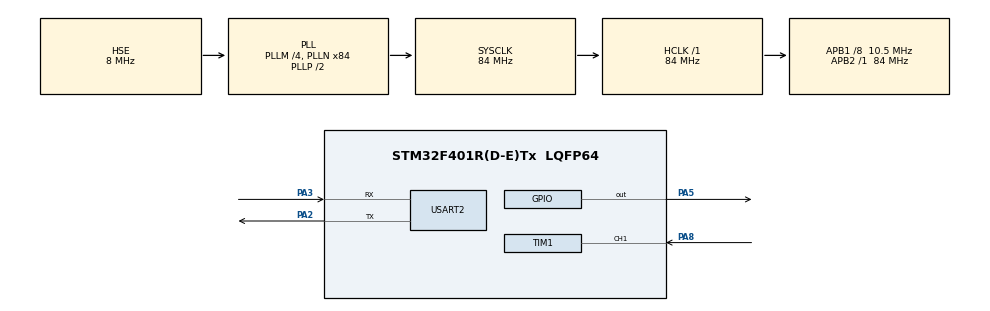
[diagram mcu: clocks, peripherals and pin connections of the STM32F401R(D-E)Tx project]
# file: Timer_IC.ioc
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Mcu.Family=STM32F4
Mcu.Name=STM32F401R(D-E)Tx
Mcu.Package=LQFP64
NVIC.PriorityGroup=NVIC_PRIORITYGROUP_4
NVIC.TIM1_CC_IRQn=true\:0\:0\:false\:false\:true\:true\:true
PA13.Mode=Serial_Wire
PA13.Signal=SYS_JTMS-SWDIO
PA14.Mode=Serial_Wire
PA14.Signal=SYS_JTCK-SWCLK
PA2.Mode=Asynchronous
PA2.Signal=USART2_TX
PA3.Mode=Asynchronous
PA3.Signal=USART2_RX
PA5.Signal=GPIO_Output
PA8.Signal=S_TIM1_CH1
PH0\ -\ OSC_IN.Mode=HSE-External-Clock-Source
PH0\ -\ OSC_IN.Signal=RCC_OSC_IN
PH1\ -\ OSC_OUT.Mode=HSE-External-Clock-Source
PH1\ -\ OSC_OUT.Signal=RCC_OSC_OUT
ProjectManager.HeapSize=0x200
ProjectManager.StackSize=0x400
ProjectManager.TargetToolchain=STM32CubeIDE
RCC.48MHZClocksFreq_Value=42000000
RCC.AHBFreq_Value=84000000
RCC.APB1CLKDivider=RCC_HCLK_DIV8
RCC.APB1Freq_Value=10500000
RCC.APB1TimFreq_Value=21000000
RCC.APB2Freq_Value=84000000
RCC.APB2TimFreq_Value=84000000
RCC.CortexFreq_Value=84000000
RCC.HCLKFreq_Value=84000000
RCC.HSE_VALUE=8000000
RCC.HSI_VALUE=16000000
RCC.LSE_VALUE=32768
RCC.PLLM=4
RCC.PLLN=84
RCC.PLLSourceVirtual=RCC_PLLSOURCE_HSE
RCC.SYSCLKFreq_VALUE=84000000
RCC.SYSCLKSource=RCC_SYSCLKSOURCE_PLLCLK
RCC.VCOOutputFreq_Value=168000000
SH.S_TIM1_CH1.0=TIM1_CH1,Input_Capture1_from_TI1
TIM1.Channel-Input_Capture1_from_TI1=TIM_CHANNEL_1
USART2.VirtualMode=VM_ASYNC
VP_TIM1_VS_ClockSourceINT.Mode=Internal
board=custom

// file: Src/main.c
/* USER CODE BEGIN Header */
/**
  ******************************************************************************
  * @file           : main.c
  * @brief          : Main program body
  ******************************************************************************
  * @attention
  *
  * <h2><center>&copy; Copyright (c) 2021 STMicroelectronics.
  * All rights reserved.</center></h2>
  *
  * This software component is licensed by ST under BSD 3-Clause license,
  * the "License"; You may not use this file except in compliance with the
  * License. You may obtain a copy of the License at:
  *                        opensource.org/licenses/BSD-3-Clause
  *
  ******************************************************************************
  */
/* USER CODE END Header */
#include "main.h"

TIM_HandleTypeDef htim1;

UART_HandleTypeDef huart2;

void SystemClock_Config(void);
static void MX_GPIO_Init(void);
static void MX_TIM1_Init(void);
static void MX_USART2_UART_Init(void);

/* USER CODE BEGIN 0 */
#define TRUE 1
#define FALSE 0

uint32_t IC_Val1 = 0;
uint32_t IC_Val2 = 0;
long Difference = 0;
uint8_t Is_First_Captured = 0;
long Frequency=0;
uint8_t buff[100]={0};

void HAL_TIM_IC_CaptureCallback(TIM_HandleTypeDef *htim)
{
	if (htim->Channel == HAL_TIM_ACTIVE_CHANNEL_1)  // if the interrupt source is channel2
		{
			if (Is_First_Captured==0) // if the first value is not captured
			{
				IC_Val1 = HAL_TIM_ReadCapturedValue(htim, TIM_CHANNEL_1); // read the first value
				Is_First_Captured = 1;  // set the first captured as true
				// Now change the polarity to falling edge
				__HAL_TIM_SET_CAPTUREPOLARITY(htim, TIM_CHANNEL_1, TIM_INPUTCHANNELPOLARITY_FALLING);
			}

			else if (Is_First_Captured==1)   // if the first is already captured
			{
				IC_Val2 = HAL_TIM_ReadCapturedValue(htim, TIM_CHANNEL_1);  // read second value
				__HAL_TIM_SET_COUNTER(htim, 0);  // reset the counter

				if (IC_Val2 > IC_Val1)
				{
					Difference = IC_Val2-IC_Val1;
				}

				Is_First_Captured = 0; // set it back to false

				// set polarity to rising edge
				__HAL_TIM_SET_CAPTUREPOLARITY(htim, TIM_CHANNEL_1, TIM_INPUTCHANNELPOLARITY_RISING);

			}
		}
}

/* USER CODE END 0 */

int main(void)
{

  /* MCU Configuration--------------------------------------------------------*/

  /* Reset of all peripherals, Initializes the Flash interface and the Systick. */
  HAL_Init();

  /* Configure the system clock */
  SystemClock_Config();

  /* Initialize all configured peripherals */
  MX_GPIO_Init();
  MX_TIM1_Init();
  MX_USART2_UART_Init();
  /* USER CODE BEGIN 2 */

  HAL_TIM_IC_Start_IT(&htim1, TIM_CHANNEL_1);

  /* USER CODE END 2 */

  /* Infinite loop */
  while (1)
  {

    /* USER CODE BEGIN 3 */
	         Frequency = HAL_RCC_GetPCLK2Freq()/Difference;
	      	sprintf(buff, "ferq= %ld     PCLK= %ld   diff=  %ld  val2= %d   val1=%d\r\n",Frequency,HAL_RCC_GetPCLK2Freq() ,Difference, IC_Val2, IC_Val1);
	    	HAL_UART_Transmit(&huart2, buff, strlen(buff), HAL_MAX_DELAY);
  }
  /* USER CODE END 3 */
}

void SystemClock_Config(void)
{
  RCC_OscInitTypeDef RCC_OscInitStruct = {0};
  RCC_ClkInitTypeDef RCC_ClkInitStruct = {0};

  /** Configure the main internal regulator output voltage
  */
  __HAL_RCC_PWR_CLK_ENABLE();
  __HAL_PWR_VOLTAGESCALING_CONFIG(PWR_REGULATOR_VOLTAGE_SCALE2);
  /** Initializes the RCC Oscillators according to the specified parameters
  * in the RCC_OscInitTypeDef structure.
  */
  RCC_OscInitStruct.OscillatorType = RCC_OSCILLATORTYPE_HSE;
  RCC_OscInitStruct.HSEState = RCC_HSE_BYPASS;
  RCC_OscInitStruct.PLL.PLLState = RCC_PLL_ON;
  RCC_OscInitStruct.PLL.PLLSource = RCC_PLLSOURCE_HSE;
  RCC_OscInitStruct.PLL.PLLM = 4;
  RCC_OscInitStruct.PLL.PLLN = 84;
  RCC_OscInitStruct.PLL.PLLP = RCC_PLLP_DIV2;
  RCC_OscInitStruct.PLL.PLLQ = 4;
  if (HAL_RCC_OscConfig(&RCC_OscInitStruct) != HAL_OK)
  {
    Error_Handler();
  }
  /** Initializes the CPU, AHB and APB buses clocks
  */
  RCC_ClkInitStruct.ClockType = RCC_CLOCKTYPE_HCLK|RCC_CLOCKTYPE_SYSCLK
                              |RCC_CLOCKTYPE_PCLK1|RCC_CLOCKTYPE_PCLK2;
  RCC_ClkInitStruct.SYSCLKSource = RCC_SYSCLKSOURCE_PLLCLK;
  RCC_ClkInitStruct.AHBCLKDivider = RCC_SYSCLK_DIV1;
  RCC_ClkInitStruct.APB1CLKDivider = RCC_HCLK_DIV8;
  RCC_ClkInitStruct.APB2CLKDivider = RCC_HCLK_DIV1;

  if (HAL_RCC_ClockConfig(&RCC_ClkInitStruct, FLASH_LATENCY_2) != HAL_OK)
  {
    Error_Handler();
  }
}

static void MX_TIM1_Init(void)
{

  TIM_ClockConfigTypeDef sClockSourceConfig = {0};
  TIM_MasterConfigTypeDef sMasterConfig = {0};
  TIM_IC_InitTypeDef sConfigIC = {0};

  htim1.Instance = TIM1;
  htim1.Init.Prescaler = 0;
  htim1.Init.CounterMode = TIM_COUNTERMODE_UP;
  htim1.Init.Period = 65535;
  htim1.Init.ClockDivision = TIM_CLOCKDIVISION_DIV1;
  htim1.Init.RepetitionCounter = 0;
  htim1.Init.AutoReloadPreload = TIM_AUTORELOAD_PRELOAD_DISABLE;
  if (HAL_TIM_Base_Init(&htim1) != HAL_OK)
  {
    Error_Handler();
  }
  sClockSourceConfig.ClockSource = TIM_CLOCKSOURCE_INTERNAL;
  if (HAL_TIM_ConfigClockSource(&htim1, &sClockSourceConfig) != HAL_OK)
  {
    Error_Handler();
  }
  if (HAL_TIM_IC_Init(&htim1) != HAL_OK)
  {
    Error_Handler();
  }
  sMasterConfig.MasterOutputTrigger = TIM_TRGO_RESET;
  sMasterConfig.MasterSlaveMode = TIM_MASTERSLAVEMODE_DISABLE;
  if (HAL_TIMEx_MasterConfigSynchronization(&htim1, &sMasterConfig) != HAL_OK)
  {
    Error_Handler();
  }
  sConfigIC.ICPolarity = TIM_INPUTCHANNELPOLARITY_RISING;
  sConfigIC.ICSelection = TIM_ICSELECTION_DIRECTTI;
  sConfigIC.ICPrescaler = TIM_ICPSC_DIV1;
  sConfigIC.ICFilter = 0;
  if (HAL_TIM_IC_ConfigChannel(&htim1, &sConfigIC, TIM_CHANNEL_1) != HAL_OK)
  {
    Error_Handler();
  }

}

static void MX_USART2_UART_Init(void)
{

  huart2.Instance = USART2;
  huart2.Init.BaudRate = 115200;
  huart2.Init.WordLength = UART_WORDLENGTH_8B;
  huart2.Init.StopBits = UART_STOPBITS_1;
  huart2.Init.Parity = UART_PARITY_NONE;
  huart2.Init.Mode = UART_MODE_TX_RX;
  huart2.Init.HwFlowCtl = UART_HWCONTROL_NONE;
  huart2.Init.OverSampling = UART_OVERSAMPLING_16;
  if (HAL_UART_Init(&huart2) != HAL_OK)
  {
    Error_Handler();
  }

}

static void MX_GPIO_Init(void)
{
  GPIO_InitTypeDef GPIO_InitStruct = {0};

  /* GPIO Ports Clock Enable */
  __HAL_RCC_GPIOH_CLK_ENABLE();
  __HAL_RCC_GPIOA_CLK_ENABLE();

  /*Configure GPIO pin Output Level */
  HAL_GPIO_WritePin(GPIOA, GPIO_PIN_5, GPIO_PIN_RESET);

  /*Configure GPIO pin : PA5 */
  GPIO_InitStruct.Pin = GPIO_PIN_5;
  GPIO_InitStruct.Mode = GPIO_MODE_OUTPUT_PP;
  GPIO_InitStruct.Pull = GPIO_NOPULL;
  GPIO_InitStruct.Speed = GPIO_SPEED_FREQ_LOW;
  HAL_GPIO_Init(GPIOA, &GPIO_InitStruct);

}

void Error_Handler(void)
{
  __disable_irq();
  while (1)
  {
  }
}

/************************ (C) COPYRIGHT STMicroelectronics *****END OF FILE****/
